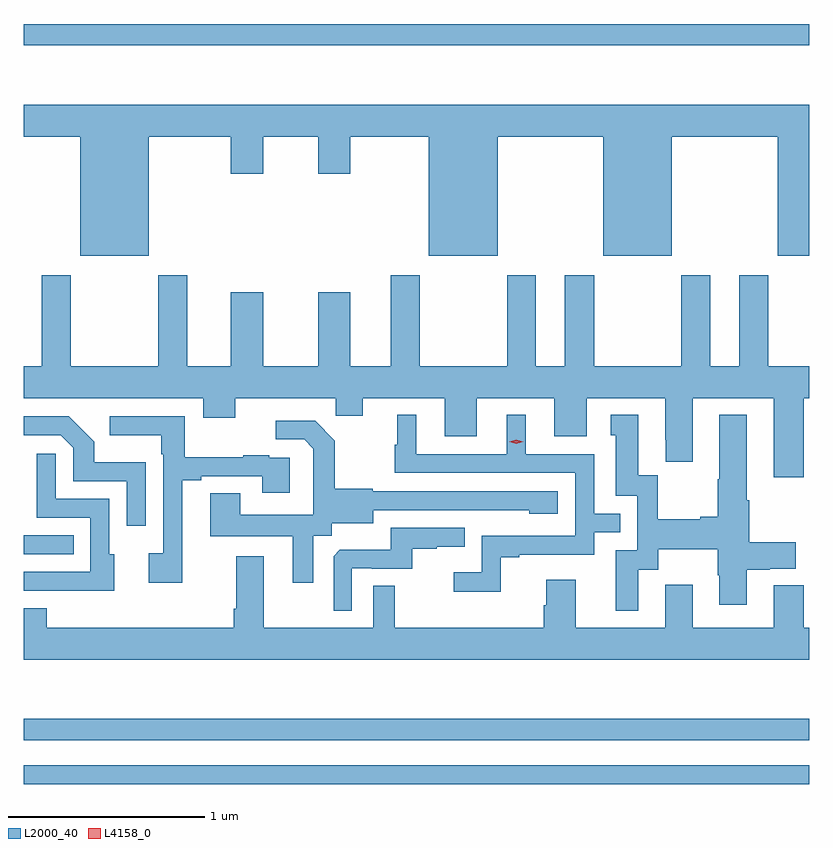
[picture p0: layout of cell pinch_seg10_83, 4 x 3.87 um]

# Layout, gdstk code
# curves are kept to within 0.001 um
import gdstk
lib = gdstk.Library(unit=1e-6, precision=1e-09)
def R(c, l, rs):  # rectangles x0, y0, x1, y1
    for r in rs: c.add(gdstk.rectangle(r[:2], r[2:], *l))
def P(c, l, *ps):  # polygons
    for p in ps: c.add(gdstk.Polygon(p, *l))
L2000_40 = (2000, 40)
L4158_0 = (4158, 0)

pinch_seg10_83 = lib.new_cell('pinch_seg10_83')
R(pinch_seg10_83, L2000_40, [(747.147,1324.992,751.147,1325.088), (747.147,1325.214,751.147,1325.323), (747.147,1326.162,747.401,1326.258), (747.147,1328.754,751.147,1328.862)])
P(pinch_seg10_83, L2000_40, [(747.784,1328.288),(748.202,1328.288),(748.202,1328.1),(748.366,1328.1),(748.366,1328.288),(748.646,1328.288),(748.646,1328.1),(748.81,1328.1),(748.81,1328.288),(749.21,1328.288),(749.21,1327.682),(749.56,1327.682),(749.56,1328.288),(750.098,1328.288),(750.098,1327.682),(750.448,1327.682),(750.448,1328.288),(750.986,1328.288),(750.986,1327.682),(751.147,1327.682),(751.147,1328.452),(747.147,1328.452),(747.147,1328.288),(747.434,1328.288),(747.434,1327.682),(747.784,1327.682)],
  [(749.608,1327.582),(749.608,1327.12),(749.163,1327.12),(749.163,1327.582),(749.015,1327.582),(749.015,1327.12),(748.81,1327.12),(748.81,1327.495),(748.646,1327.495),(748.646,1327.12),(748.366,1327.12),(748.366,1327.495),(748.202,1327.495),(748.202,1327.12),(747.979,1327.12),(747.979,1327.582),(747.832,1327.582),(747.832,1327.12),(747.387,1327.12),(747.387,1327.582),(747.239,1327.582),(747.239,1327.12),(747.147,1327.12),(747.147,1326.956),(748.061,1326.956),(748.061,1326.857),(748.225,1326.857),(748.225,1326.956),(748.735,1326.956),(748.735,1326.866),(748.873,1326.866),(748.873,1326.956),(749.291,1326.956),(749.291,1326.762),(749.455,1326.762),(749.455,1326.956),(749.849,1326.956),(749.849,1326.762),(750.013,1326.762),(750.013,1326.956),(750.413,1326.956),(750.413,1326.745),(750.416,1326.745),(750.416,1326.633),(750.553,1326.633),(750.553,1326.956),(750.965,1326.956),(750.965,1326.555),(751.118,1326.555),(751.118,1326.956),(751.147,1326.956),(751.147,1327.12),(750.939,1327.12),(750.939,1327.582),(750.791,1327.582),(750.791,1327.12),(750.643,1327.12),(750.643,1327.582),(750.496,1327.582),(750.496,1327.12),(750.051,1327.12),(750.051,1327.582),(749.903,1327.582),(749.903,1327.12),(749.755,1327.12),(749.755,1327.582)],
  [(749.577,1326.147),(749.671,1326.147),(749.671,1326.159),(750.051,1326.159),(750.051,1326.273),(750.185,1326.273),(750.185,1326.369),(750.051,1326.369),(750.051,1326.672),(749.704,1326.672),(749.704,1326.871),(749.606,1326.871),(749.606,1326.672),(749.146,1326.672),(749.146,1326.871),(749.048,1326.871),(749.048,1326.72),(749.037,1326.72),(749.037,1326.576),(749.955,1326.576),(749.955,1326.255),(749.478,1326.255),(749.478,1326.07),(749.337,1326.07),(749.337,1325.972),(749.577,1325.972)],
  [(750.277,1326.082),(750.379,1326.082),(750.379,1326.188),(750.682,1326.188),(750.682,1326.054),(750.689,1326.054),(750.689,1325.904),(750.829,1325.904),(750.829,1326.082),(750.945,1326.082),(750.945,1326.089),(751.078,1326.089),(751.078,1326.224),(750.842,1326.224),(750.842,1326.436),(750.829,1326.436),(750.829,1326.871),(750.689,1326.871),(750.689,1326.545),(750.682,1326.545),(750.682,1326.353),(750.593,1326.353),(750.593,1326.34),(750.375,1326.34),(750.375,1326.563),(750.277,1326.563),(750.277,1326.871),(750.137,1326.871),(750.137,1326.768),(750.161,1326.768),(750.161,1326.459),(750.27,1326.459),(750.27,1326.183),(750.161,1326.183),(750.161,1325.874),(750.277,1325.874)],
  [(747.955,1326.54),(748.051,1326.54),(748.051,1326.558),(748.361,1326.558),(748.361,1326.474),(748.501,1326.474),(748.501,1326.654),(748.397,1326.654),(748.397,1326.667),(748.265,1326.667),(748.265,1326.656),(747.967,1326.656),(747.967,1326.864),(747.585,1326.864),(747.585,1326.767),(747.846,1326.767),(747.846,1326.671),(747.858,1326.671),(747.858,1326.166),(747.783,1326.166),(747.783,1326.018),(747.955,1326.018)],
  [(747.768,1326.631),(747.507,1326.631),(747.507,1326.734),(747.376,1326.864),(747.147,1326.864),(747.147,1326.768),(747.336,1326.768),(747.399,1326.705),(747.399,1326.534),(747.672,1326.534),(747.672,1326.306),(747.768,1326.306)],
  [(748.621,1326.256),(748.716,1326.256),(748.716,1326.32),(748.927,1326.32),(748.927,1326.387),(749.721,1326.386),(749.721,1326.368),(749.866,1326.368),(749.866,1326.483),(748.923,1326.483),(748.923,1326.496),(748.731,1326.496),(748.731,1326.741),(748.631,1326.841),(748.431,1326.841),(748.431,1326.747),(748.575,1326.747),(748.622,1326.7),(748.622,1326.605),(748.62,1326.605),(748.62,1326.364),(748.249,1326.364),(748.249,1326.473),(748.097,1326.473),(748.097,1326.254),(748.517,1326.254),(748.517,1326.018),(748.621,1326.018)],
  [(747.607,1326.162),(747.582,1326.162),(747.582,1326.444),(747.309,1326.444),(747.309,1326.673),(747.213,1326.673),(747.213,1326.348),(747.486,1326.348),(747.486,1326.072),(747.147,1326.072),(747.147,1325.976),(747.389,1325.976),(747.389,1325.975),(747.607,1325.975)],
  [(748.818,1326.09),(748.918,1326.09),(748.918,1326.087),(749.126,1326.087),(749.126,1326.189),(749.249,1326.189),(749.249,1326.2),(749.393,1326.2),(749.393,1326.297),(749.016,1326.297),(749.016,1326.185),(748.757,1326.185),(748.725,1326.153),(748.725,1325.873),(748.818,1325.873)],
  [(751.147,1325.788),(751.118,1325.788),(751.118,1326.004),(750.965,1326.004),(750.965,1325.788),(750.553,1325.788),(750.553,1326.007),(750.413,1326.007),(750.413,1325.788),(749.959,1325.788),(749.959,1326.031),(749.807,1326.031),(749.807,1325.901),(749.795,1325.901),(749.795,1325.788),(749.035,1325.788),(749.035,1326.002),(748.926,1326.002),(748.926,1325.788),(748.369,1325.788),(748.369,1326.151),(748.229,1326.151),(748.229,1325.884),(748.217,1325.884),(748.217,1325.788),(747.265,1325.788),(747.265,1325.887),(747.147,1325.887),(747.147,1325.624),(751.147,1325.624)])
P(pinch_seg10_83, L4158_0, [(749.655,1326.724),(749.619,1326.734),(749.619,1326.734),(749.619,1326.735),(749.655,1326.744),(749.691,1326.735),(749.691,1326.734),(749.691,1326.734)])

lib.write_gds('pinch_seg10_83.gds')
